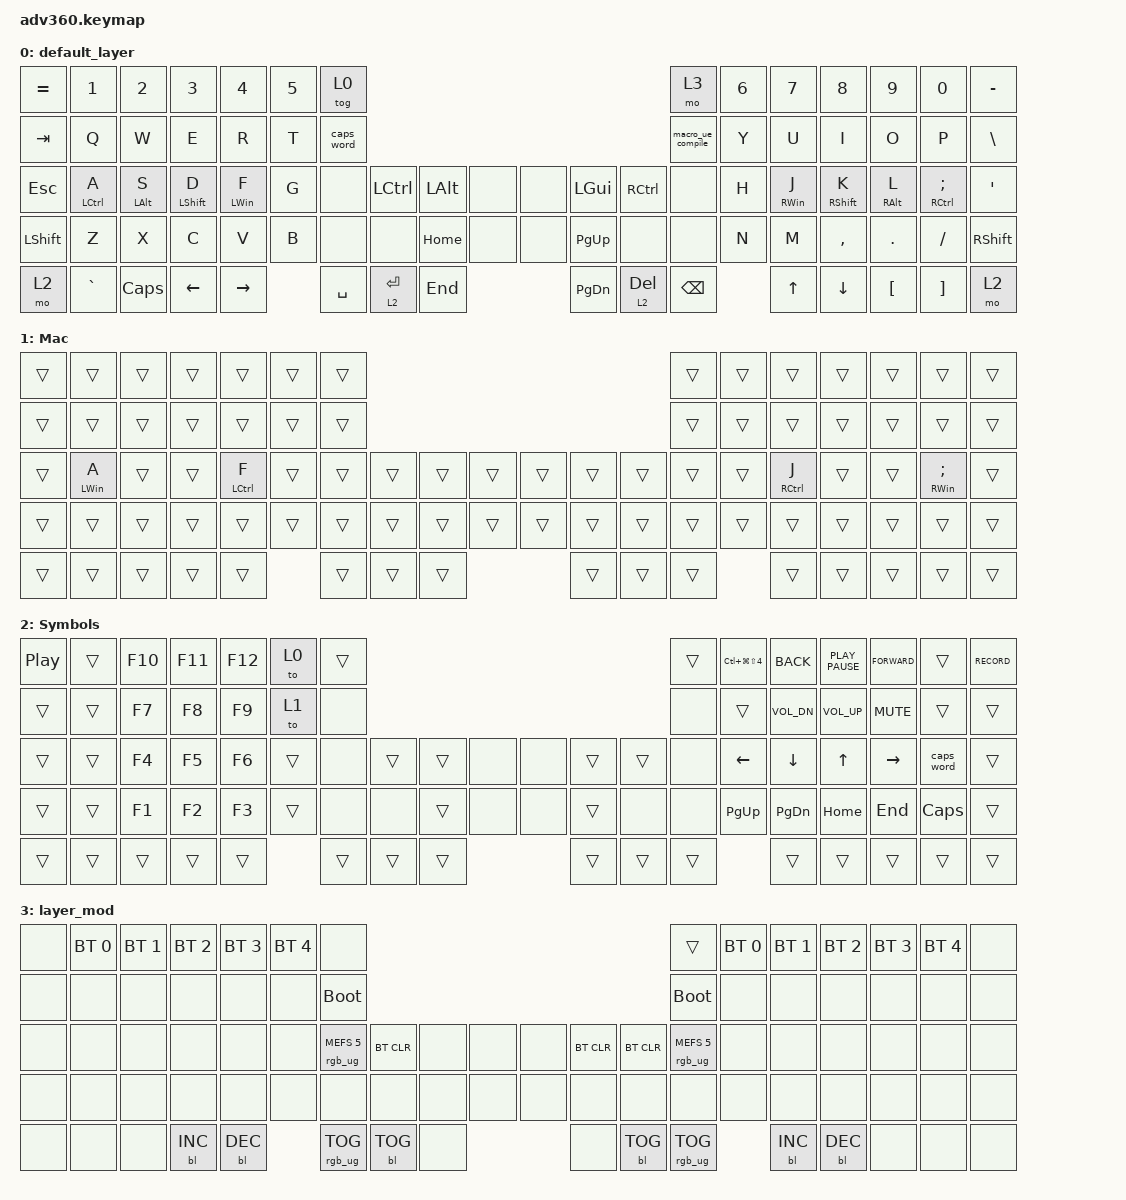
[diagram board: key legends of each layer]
/*
 * Copyright (c) 2020 The ZMK Contributors
 *
 * SPDX-License-Identifier: MIT
 */
/* THIS FILE WAS GENERATED!
 *
 * This file was generated automatically. You may or may not want to
 * edit it directly.
 */

#include <behaviors.dtsi>
#include <dt-bindings/zmk/backlight.h>
#include <dt-bindings/zmk/bt.h>
#include <dt-bindings/zmk/keys.h>
#include <dt-bindings/zmk/rgb.h>

/ {
    behaviors {
        #include "macros.dtsi"

        hm: homerow_mods {
            compatible = "zmk,behavior-hold-tap";
            label = "HOMEROW_MODS";
            #binding-cells = <2>;
            tapping-term-ms = <200>;
            quick_tap_ms = <175>;
            flavor = "tap-preferred";
            bindings = <&kp>, <&kp>;
        };
    };

    combos {
        compatible = "zmk,combos";

        BracketBrace {
            bindings = <&kp LEFT_BRACKET>;
            key-positions = <51 50>;
        };

        Grave {
            bindings = <&kp GRAVE>;
            key-positions = <14 15>;
        };

        RightBracketBrace {
            bindings = <&kp RIGHT_BRACKET>;
            key-positions = <65 64>;
        };
    };

    keymap {
        compatible = "zmk,keymap";

        default_layer {
            bindings = <
&kp EQUAL  &kp N1              &kp N2          &kp N3            &kp N4          &kp N5  &tog 0                                                                     &mo 3              &kp N6  &kp N7           &kp N8             &kp N9           &kp N0                       &kp MINUS
&kp TAB    &kp Q               &kp W           &kp E             &kp R           &kp T   &caps_word                                                                 &macro_ue_compile  &kp Y   &kp U            &kp I              &kp O            &kp P                        &kp BSLH
&kp ESC    &hm LEFT_CONTROL A  &hm LEFT_ALT S  &hm LEFT_SHIFT D  &hm LEFT_WIN F  &kp G   &none       &kp LCTRL     &kp LALT  &none  &none  &kp LGUI   &kp RCTRL     &none              &kp H   &hm RIGHT_WIN J  &hm RIGHT_SHIFT K  &hm RIGHT_ALT L  &hm RIGHT_CONTROL SEMICOLON  &kp SQT
&kp LSHFT  &kp Z               &kp X           &kp C             &kp V           &kp B   &none       &none         &kp HOME  &none  &none  &kp PG_UP  &none         &none              &kp N   &kp M            &kp COMMA          &kp DOT          &kp FSLH                     &kp RSHFT
&mo 2      &kp GRAVE           &kp CAPS        &kp LEFT          &kp RIGHT               &kp SPACE   &lt 2 RETURN  &kp END                 &kp PG_DN  &lt 2 DELETE  &kp BACKSPACE              &kp UP           &kp DOWN           &kp LBKT         &kp RBKT                     &mo 2
            >;
        };

        Mac {
            bindings = <
&trans  &trans          &trans  &trans  &trans       &trans  &trans                                                  &trans  &trans  &trans       &trans  &trans  &trans                   &trans
&trans  &trans          &trans  &trans  &trans       &trans  &trans                                                  &trans  &trans  &trans       &trans  &trans  &trans                   &trans
&trans  &hm LEFT_WIN A  &trans  &trans  &hm LCTRL F  &trans  &trans  &trans  &trans  &trans  &trans  &trans  &trans  &trans  &trans  &hm RCTRL J  &trans  &trans  &hm RIGHT_WIN SEMICOLON  &trans
&trans  &trans          &trans  &trans  &trans       &trans  &trans  &trans  &trans  &trans  &trans  &trans  &trans  &trans  &trans  &trans       &trans  &trans  &trans                   &trans
&trans  &trans          &trans  &trans  &trans               &trans  &trans  &trans                  &trans  &trans  &trans          &trans       &trans  &trans  &trans                   &trans
            >;
        };

        Symbols {
            bindings = <
&kp C_PP  &trans  &kp F10  &kp F11  &kp F12  &to 0   &trans                                                &trans  &kp LC(LG(LS(NUMBER_4)))  &kp K_BACK      &kp K_PLAY_PAUSE  &kp K_FORWARD  &trans        &kp C_RECORD
&trans    &trans  &kp F7   &kp F8   &kp F9   &to 1   &none                                                 &none   &trans                    &kp C_VOL_DN    &kp C_VOLUME_UP   &kp C_MUTE     &trans        &trans
&trans    &trans  &kp F4   &kp F5   &kp F6   &trans  &none   &trans  &trans  &none  &none  &trans  &trans  &none   &kp LEFT                  &kp DOWN_ARROW  &kp UP_ARROW      &kp RIGHT      &caps_word    &trans
&trans    &trans  &kp F1   &kp F2   &kp F3   &trans  &none   &none   &trans  &none  &none  &trans  &none   &none   &kp PAGE_UP               &kp PAGE_DOWN   &kp HOME          &kp END        &kp CAPSLOCK  &trans
&trans    &trans  &trans   &trans   &trans           &trans  &trans  &trans                &trans  &trans  &trans                            &trans          &trans            &trans         &trans        &trans
            >;
        };

        layer_mod {
            bindings = <
&none  &bt BT_SEL 0  &bt BT_SEL 1  &bt BT_SEL 2  &bt BT_SEL 3  &bt BT_SEL 4  &none                                                                            &trans                  &bt BT_SEL 0  &bt BT_SEL 1  &bt BT_SEL 2  &bt BT_SEL 3  &bt BT_SEL 4  &none
&none  &none         &none         &none         &none         &none         &bootloader                                                                      &bootloader             &none         &none         &none         &none         &none         &none
&none  &none         &none         &none         &none         &none         &rgb_ug RGB_MEFS_CMD 5  &bt BT_CLR  &none  &none  &none  &bt BT_CLR  &bt BT_CLR  &rgb_ug RGB_MEFS_CMD 5  &none         &none         &none         &none         &none         &none
&none  &none         &none         &none         &none         &none         &none                   &none       &none  &none  &none  &none       &none       &none                   &none         &none         &none         &none         &none         &none
&none  &none         &none         &bl BL_INC    &bl BL_DEC                  &rgb_ug RGB_TOG         &bl BL_TOG  &none                &none       &bl BL_TOG  &rgb_ug RGB_TOG                       &bl BL_INC    &bl BL_DEC    &none         &none         &none
            >;
        };
    };
};
